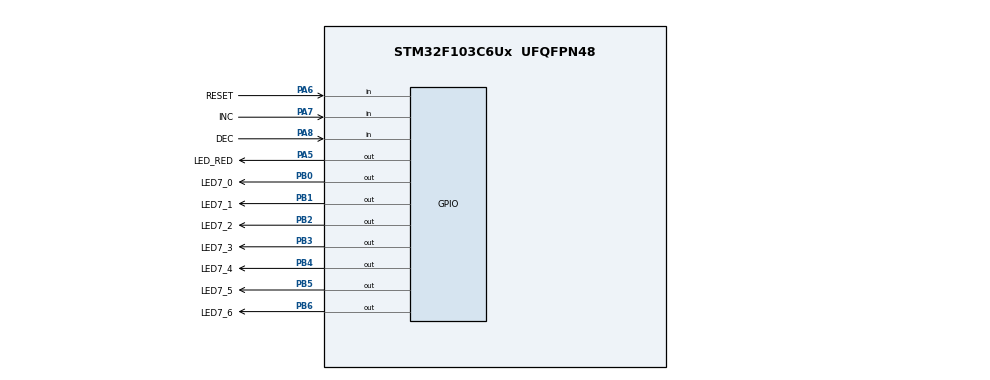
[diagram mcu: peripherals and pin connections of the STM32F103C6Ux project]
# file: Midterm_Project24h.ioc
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Mcu.Family=STM32F1
Mcu.Name=STM32F103C6Ux
Mcu.Package=UFQFPN48
NVIC.PriorityGroup=NVIC_PRIORITYGROUP_4
NVIC.TIM2_IRQn=true\:0\:0\:false\:false\:true\:true\:true
PA5.GPIO_Label=LED_RED
PA5.Signal=GPIO_Output
PA6.GPIO_Label=RESET
PA6.GPIO_PuPd=GPIO_PULLUP
PA6.Signal=GPIO_Input
PA7.GPIO_Label=INC
PA7.GPIO_PuPd=GPIO_PULLUP
PA7.Signal=GPIO_Input
PA8.GPIO_Label=DEC
PA8.GPIO_PuPd=GPIO_PULLUP
PA8.Signal=GPIO_Input
PB0.GPIO_Label=LED7_0
PB0.Signal=GPIO_Output
PB1.GPIO_Label=LED7_1
PB1.Signal=GPIO_Output
PB2.GPIO_Label=LED7_2
PB2.Signal=GPIO_Output
PB3.GPIO_Label=LED7_3
PB3.Signal=GPIO_Output
PB4.GPIO_Label=LED7_4
PB4.Signal=GPIO_Output
PB5.GPIO_Label=LED7_5
PB5.Signal=GPIO_Output
PB6.GPIO_Label=LED7_6
PB6.Signal=GPIO_Output
ProjectManager.HeapSize=0x200
ProjectManager.StackSize=0x400
ProjectManager.TargetToolchain=STM32CubeIDE
RCC.APB1Freq_Value=8000000
RCC.APB2Freq_Value=8000000
TIM2.Period=9
TIM2.Prescaler=7999
VP_SYS_VS_ND.Mode=No_Debug
VP_TIM2_VS_ClockSourceINT.Mode=Internal
board=custom

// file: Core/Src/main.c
/* USER CODE BEGIN Header */
/**
  ******************************************************************************
  * @file           : main.c
  * @brief          : Main program body
  ******************************************************************************
  * @attention
  *
  * <h2><center>&copy; Copyright (c) 2022 STMicroelectronics.
  * All rights reserved.</center></h2>
  *
  * This software component is licensed by ST under BSD 3-Clause license,
  * the "License"; You may not use this file except in compliance with the
  * License. You may obtain a copy of the License at:
  *                        opensource.org/licenses/BSD-3-Clause
  *
  ******************************************************************************
  */
/* USER CODE END Header */
#include "main.h"

/* USER CODE BEGIN Includes */
#include "button.h"
#include "display_LED.h"
#include "fsm_button_longpressed.h"
#include "fsm_button.h"
#include "global.h"
#include "software_timer.h"
#include "Blinking_LED.h"
/* USER CODE END Includes */

TIM_HandleTypeDef htim2;

void SystemClock_Config(void);
static void MX_GPIO_Init(void);
static void MX_TIM2_Init(void);

int main(void)
{

  /* MCU Configuration--------------------------------------------------------*/

  /* Reset of all peripherals, Initializes the Flash interface and the Systick. */
  HAL_Init();

  /* Configure the system clock */
  SystemClock_Config();

  /* Initialize all configured peripherals */
  MX_GPIO_Init();
  MX_TIM2_Init();
  /* USER CODE BEGIN 2 */
  HAL_TIM_Base_Start_IT(&htim2);
  /* USER CODE END 2 */

  /* Infinite loop */
  /* USER CODE BEGIN WHILE */

  //clear all LED
  clearLED(LED_RED_GPIO_Port, LED_RED_Pin);

  clear7SEG(LED7_0_Pin, LED7_1_Pin, LED7_2_Pin, LED7_3_Pin, LED7_4_Pin, LED7_5_Pin, LED7_6_Pin,
		  	LED7_0_GPIO_Port, LED7_1_GPIO_Port, LED7_2_GPIO_Port, LED7_3_GPIO_Port, LED7_4_GPIO_Port, LED7_5_GPIO_Port, LED7_6_GPIO_Port);

  //Initial state
  button_status = INIT;

  //call Timer to change timer_flag to 1
  setTimer1(50); //This timer is used for count time to change counter when button is long-pressed
  setTimer2(50); //This timer is used for auto count down (NORMAL) state
  setTimer3(50); //This timer is used for time out to NORMAL state
  setTimer4(50); //This timer is used for blinking led to Debugging

  while (1)
  {
    /* USER CODE END WHILE */

    /* USER CODE BEGIN 3 */
	  fsm_simple_button_run();
	  fsm_longpress_buttons_run();
	  fsm_automatic_run();
	  Blinking_LED();

  }
  /* USER CODE END 3 */
}

void SystemClock_Config(void)
{
  RCC_OscInitTypeDef RCC_OscInitStruct = {0};
  RCC_ClkInitTypeDef RCC_ClkInitStruct = {0};

  /** Initializes the RCC Oscillators according to the specified parameters
  * in the RCC_OscInitTypeDef structure.
  */
  RCC_OscInitStruct.OscillatorType = RCC_OSCILLATORTYPE_HSI;
  RCC_OscInitStruct.HSIState = RCC_HSI_ON;
  RCC_OscInitStruct.HSICalibrationValue = RCC_HSICALIBRATION_DEFAULT;
  RCC_OscInitStruct.PLL.PLLState = RCC_PLL_NONE;
  if (HAL_RCC_OscConfig(&RCC_OscInitStruct) != HAL_OK)
  {
    Error_Handler();
  }
  /** Initializes the CPU, AHB and APB buses clocks
  */
  RCC_ClkInitStruct.ClockType = RCC_CLOCKTYPE_HCLK|RCC_CLOCKTYPE_SYSCLK
                              |RCC_CLOCKTYPE_PCLK1|RCC_CLOCKTYPE_PCLK2;
  RCC_ClkInitStruct.SYSCLKSource = RCC_SYSCLKSOURCE_HSI;
  RCC_ClkInitStruct.AHBCLKDivider = RCC_SYSCLK_DIV1;
  RCC_ClkInitStruct.APB1CLKDivider = RCC_HCLK_DIV1;
  RCC_ClkInitStruct.APB2CLKDivider = RCC_HCLK_DIV1;

  if (HAL_RCC_ClockConfig(&RCC_ClkInitStruct, FLASH_LATENCY_0) != HAL_OK)
  {
    Error_Handler();
  }
}

static void MX_TIM2_Init(void)
{

  TIM_ClockConfigTypeDef sClockSourceConfig = {0};
  TIM_MasterConfigTypeDef sMasterConfig = {0};

  htim2.Instance = TIM2;
  htim2.Init.Prescaler = 7999;
  htim2.Init.CounterMode = TIM_COUNTERMODE_UP;
  htim2.Init.Period = 9;
  htim2.Init.ClockDivision = TIM_CLOCKDIVISION_DIV1;
  htim2.Init.AutoReloadPreload = TIM_AUTORELOAD_PRELOAD_DISABLE;
  if (HAL_TIM_Base_Init(&htim2) != HAL_OK)
  {
    Error_Handler();
  }
  sClockSourceConfig.ClockSource = TIM_CLOCKSOURCE_INTERNAL;
  if (HAL_TIM_ConfigClockSource(&htim2, &sClockSourceConfig) != HAL_OK)
  {
    Error_Handler();
  }
  sMasterConfig.MasterOutputTrigger = TIM_TRGO_RESET;
  sMasterConfig.MasterSlaveMode = TIM_MASTERSLAVEMODE_DISABLE;
  if (HAL_TIMEx_MasterConfigSynchronization(&htim2, &sMasterConfig) != HAL_OK)
  {
    Error_Handler();
  }

}

static void MX_GPIO_Init(void)
{
  GPIO_InitTypeDef GPIO_InitStruct = {0};

  /* GPIO Ports Clock Enable */
  __HAL_RCC_GPIOA_CLK_ENABLE();
  __HAL_RCC_GPIOB_CLK_ENABLE();

  /*Configure GPIO pin Output Level */
  HAL_GPIO_WritePin(LED_RED_GPIO_Port, LED_RED_Pin, GPIO_PIN_RESET);

  /*Configure GPIO pin Output Level */
  HAL_GPIO_WritePin(GPIOB, LED7_0_Pin|LED7_1_Pin|LED7_2_Pin|LED7_3_Pin
                          |LED7_4_Pin|LED7_5_Pin|LED7_6_Pin, GPIO_PIN_RESET);

  /*Configure GPIO pin : LED_RED_Pin */
  GPIO_InitStruct.Pin = LED_RED_Pin;
  GPIO_InitStruct.Mode = GPIO_MODE_OUTPUT_PP;
  GPIO_InitStruct.Pull = GPIO_NOPULL;
  GPIO_InitStruct.Speed = GPIO_SPEED_FREQ_LOW;
  HAL_GPIO_Init(LED_RED_GPIO_Port, &GPIO_InitStruct);

  /*Configure GPIO pins : RESET_Pin INC_Pin DEC_Pin */
  GPIO_InitStruct.Pin = RESET_Pin|INC_Pin|DEC_Pin;
  GPIO_InitStruct.Mode = GPIO_MODE_INPUT;
  GPIO_InitStruct.Pull = GPIO_PULLUP;
  HAL_GPIO_Init(GPIOA, &GPIO_InitStruct);

  /*Configure GPIO pins : LED7_0_Pin LED7_1_Pin LED7_2_Pin LED7_3_Pin
                           LED7_4_Pin LED7_5_Pin LED7_6_Pin */
  GPIO_InitStruct.Pin = LED7_0_Pin|LED7_1_Pin|LED7_2_Pin|LED7_3_Pin
                          |LED7_4_Pin|LED7_5_Pin|LED7_6_Pin;
  GPIO_InitStruct.Mode = GPIO_MODE_OUTPUT_PP;
  GPIO_InitStruct.Pull = GPIO_NOPULL;
  GPIO_InitStruct.Speed = GPIO_SPEED_FREQ_LOW;
  HAL_GPIO_Init(GPIOB, &GPIO_InitStruct);

}

/* USER CODE BEGIN 4 */
void HAL_TIM_PeriodElapsedCallback(TIM_HandleTypeDef *htim) {
	timerRun();
	getKeyInput();
}
/* USER CODE END 4 */

void Error_Handler(void)
{
  __disable_irq();
  while (1)
  {
  }
}

/************************ (C) COPYRIGHT STMicroelectronics *****END OF FILE****/
